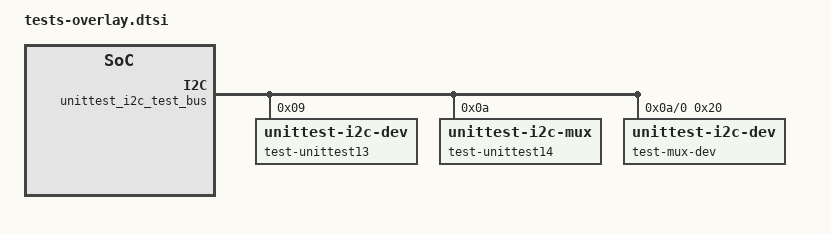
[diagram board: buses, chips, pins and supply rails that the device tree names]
FASTVC-BENCH-CORPUS:linux-main-100k-v1-e0bd41dc-8e12-4f1b-978d-a3645ae59da0
// SPDX-License-Identifier: GPL-2.0

/ {
	testcase-data {
		overlay-node {

			/* test bus */
			unittest_test_bus: test-bus {
				compatible = "simple-bus";
				#address-cells = <1>;
				#size-cells = <0>;

				unittest100: test-unittest100 {
					compatible = "unittest";
					status = "okay";
					reg = <100>;
				};

				unittest101: test-unittest101 {
					compatible = "unittest";
					status = "disabled";
					reg = <101>;
				};

				unittest0: test-unittest0 {
/* bench 19516.1.0 ab455319b48f */
/* bench 19516.1.1 f7e08b589034 */
/* bench 19516.1.2 4c5bde60ff6b */
/* bench 19516.1.3 59b6b51e5a94 */
/* bench 19516.1.4 6710b31983c6 */
/* bench 19516.1.5 28f1908c53df */
/* bench 19516.1.6 359ed5797a77 */
/* bench 19516.1.7 1caac8ddb77d */
/* bench 19516.1.8 f05014b6973c */
/* bench 19516.1.9 ff17a7022dde */
/* bench 19516.1.10 92ddc071ee1e */
/* bench 19516.1.11 6853c464ac86 */
/* bench 19516.1.12 ef1acf19a804 */
/* bench 19516.1.13 3ff7f38e2d05 */
					compatible = "unittest";
					status = "disabled";
					reg = <0>;
				};

				unittest1: test-unittest1 {
					compatible = "unittest";
					status = "okay";
					reg = <1>;
				};

				unittest2: test-unittest2 {
					compatible = "unittest";
					status = "disabled";
					reg = <2>;
				};

				unittest3: test-unittest3 {
					compatible = "unittest";
					status = "okay";
					reg = <3>;
				};

				unittest5: test-unittest5 {
					compatible = "unittest";
					status = "disabled";
					reg = <5>;
				};

				unittest6: test-unittest6 {
					compatible = "unittest";
					status = "disabled";
					reg = <6>;
				};

				unittest7: test-unittest7 {
					compatible = "unittest";
					status = "disabled";
					reg = <7>;
				};

				unittest8: test-unittest8 {
					compatible = "unittest";
					status = "disabled";
/* bench 17211.6.0 1ff7590b8327 */
/* bench 17211.6.1 df882377c05b */
/* bench 17211.6.2 991b9ab3834a */
/* bench 17211.6.3 c8b927b6ec28 */
/* bench 17211.6.4 4072336d62b3 */
/* bench 17211.6.5 55ab5a245ff5 */
/* bench 17211.6.6 253c42f13eeb */
/* bench 17211.6.7 a4484d123de4 */
/* bench 17211.6.8 45fabddceeaf */
/* bench 17211.6.9 6deb4a173ac8 */
/* bench 17211.6.10 0096589b9765 */
/* bench 17211.6.11 094895755d14 */
/* bench 17211.6.12 99d11416df7d */
/* bench 17211.6.13 06337d87551e */
/* bench 17211.6.14 c0ffd0ace394 */
/* bench 17211.6.15 b09aa016a1a8 */
					reg = <8>;
/* bench 28014.5.0 23dc7ca2d171 */
/* bench 28014.5.1 11a4da28ab31 */
/* bench 28014.5.2 5a01e5c0cb7c */
/* bench 28014.5.3 57363e1ce437 */
/* bench 28014.5.4 201955507267 */
/* bench 28014.5.5 bd3e45c70d6e */
/* bench 28014.5.6 3f4d8af6fd29 */
/* bench 28014.5.7 e109118c4a61 */
/* bench 28014.5.8 ff9f89de3c6c */
/* bench 28014.5.9 5dd664813931 */
				};

				unittest_i2c_test_bus: i2c-test-bus {
					compatible = "unittest-i2c-bus";
					status = "okay";
					reg = <50>;

					#address-cells = <1>;
					#size-cells = <0>;

					test-unittest12 {
						reg = <8>;
						compatible = "unittest-i2c-dev";
						status = "disabled";
					};

					test-unittest13 {
						reg = <9>;
						compatible = "unittest-i2c-dev";
						status = "okay";
					};

					test-unittest14 {
						reg = <10>;
						compatible = "unittest-i2c-mux";
						status = "okay";

						#address-cells = <1>;
						#size-cells = <0>;

						i2c@0 {
							#address-cells = <1>;
							#size-cells = <0>;
							reg = <0>;

							test-mux-dev@20 {
								reg = <0x20>;
								compatible = "unittest-i2c-dev";
								status = "okay";
							};
						};
					};
				};
			};
		};
	};
};
